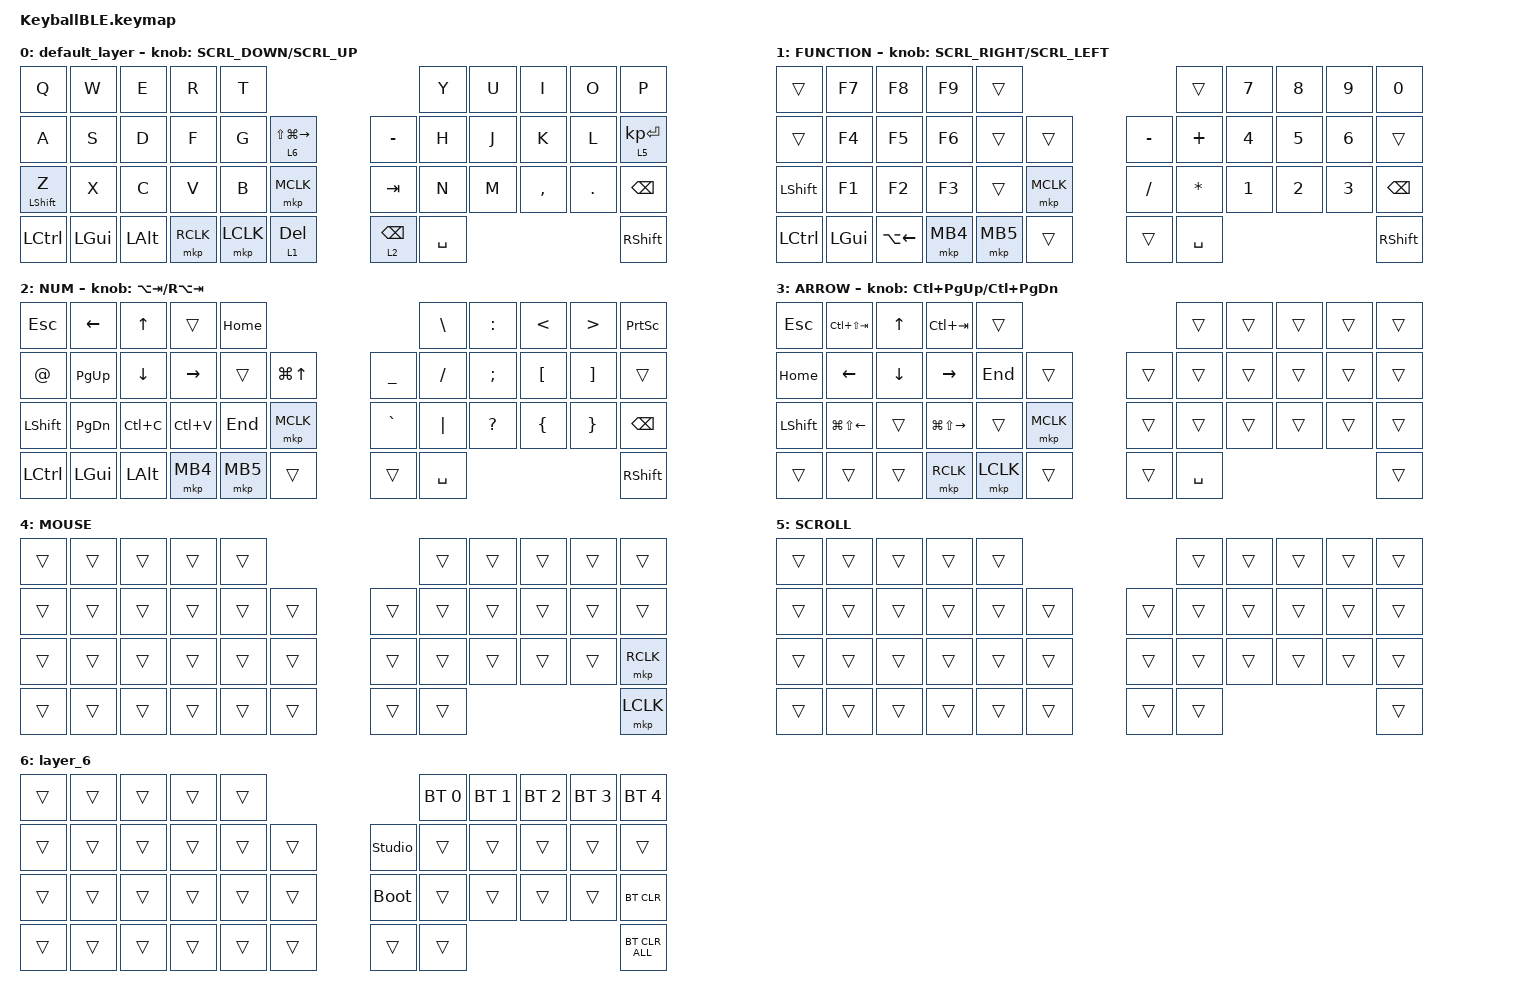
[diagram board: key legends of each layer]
#define ZMK_POINTING_DEFAULT_SCRL_VAL 120    // default: 10

#include <behaviors.dtsi>
#include <dt-bindings/zmk/bt.h>
#include <dt-bindings/zmk/keys.h>
#include <dt-bindings/zmk/pointing.h>

#define MOUSE 4
#define SCROLL 5
#define NUM 6

&mt {
    flavor = "balanced";
    quick-tap-ms = <0>;
};

/ {
    combos {
        compatible = "zmk,combos";

        double_quotation {
            bindings = <&kp DOUBLE_QUOTES>;
            key-positions = <20 21>;
        };
    };

    macros {
        to_layer_0: to_layer_0 {
            compatible = "zmk,behavior-macro-one-param";
            #binding-cells = <1>;
            bindings = <&to 0 &macro_param_1to1 &kp MACRO_PLACEHOLDER>;
            label = "TO_LAYER_0";
        };
    };

    behaviors {
        lt_to_layer_0: lt_to_layer_0 {
            compatible = "zmk,behavior-hold-tap";
            label = "LAYER_TAP_TO_0";
            bindings = <&mo>, <&to_layer_0>;

            #binding-cells = <2>;
            tapping-term-ms = <200>;
        };

        ROTATE: ROTATE {
            compatible = "zmk,behavior-sensor-rotate-var";
            label = "ROTATE";
            #sensor-binding-cells = <2>;
            bindings = <&msc>, <&msc>;

            tap-ms = <20>;
        };
    };

    keymap {
        compatible = "zmk,keymap";

        default_layer {
            bindings = <
&kp Q             &kp W         &kp E         &kp R      &kp T                                                      &kp Y      &kp U  &kp I      &kp O    &kp P
&kp A             &kp S         &kp D         &kp F      &kp G      &lt 6 LS(LG(RIGHT_ARROW))      &kp MINUS        &kp H      &kp J  &kp K      &kp L    &lt 5 KP_ENTER
&mt LEFT_SHIFT Z  &kp X         &kp C         &kp V      &kp B      &mkp MCLK                      &kp TAB          &kp N      &kp M  &kp COMMA  &kp DOT  &kp BACKSPACE
&kp LCTRL         &kp LEFT_GUI  &kp LEFT_ALT  &mkp RCLK  &mkp LCLK  &lt 1 DELETE                   &lt 2 BACKSPACE  &kp SPACE                             &kp RIGHT_SHIFT
            >;

            sensor-bindings = <&ROTATE SCRL_DOWN SCRL_UP>;
        };

        FUNCTION {
            bindings = <
&trans            &kp F7        &kp F8              &kp F9    &trans                              &trans        &kp NUMBER_7  &kp NUMBER_8  &kp NUMBER_9  &kp N0
&trans            &kp F4        &kp F5              &kp F6    &trans    &trans         &kp MINUS  &kp PLUS      &kp NUMBER_4  &kp NUMBER_5  &kp NUMBER_6  &trans
&kp LEFT_SHIFT    &kp F1        &kp F2              &kp F3    &trans    &mkp MCLK      &kp SLASH  &kp ASTERISK  &kp NUMBER_1  &kp NUMBER_2  &kp NUMBER_3  &kp BACKSPACE
&kp LEFT_CONTROL  &kp LEFT_GUI  &kp LA(LEFT_ARROW)  &mkp MB4  &mkp MB5  &trans         &trans     &kp SPACE                                               &kp RIGHT_SHIFT
            >;

            sensor-bindings = <&ROTATE SCRL_RIGHT SCRL_LEFT>;
        };

        NUM {
            bindings = <
&kp ESCAPE        &kp LEFT_ARROW  &kp UP_ARROW    &trans           &kp HOME                                        &kp BACKSLASH  &kp COLON  &kp LT            &kp GT             &kp PRINTSCREEN
&kp AT_SIGN       &kp PG_UP       &kp DOWN_ARROW  &kp RIGHT_ARROW  &trans    &kp LG(UP_ARROW)      &kp UNDERSCORE  &kp SLASH      &kp SEMI   &kp LEFT_BRACKET  &kp RIGHT_BRACKET  &trans
&kp LEFT_SHIFT    &kp PAGE_DOWN   &kp LC(C)       &kp LC(V)        &kp END   &mkp MCLK             &kp GRAVE       &kp PIPE       &kp QMARK  &kp LEFT_BRACE    &kp RIGHT_BRACE    &kp BACKSPACE
&kp LEFT_CONTROL  &kp LEFT_GUI    &kp LEFT_ALT    &mkp MB4         &mkp MB5  &trans                &trans          &kp SPACE                                                      &kp RIGHT_SHIFT
            >;

            sensor-bindings = <&inc_dec_kp LA(TAB) RA(TAB)>;
        };

        ARROW {
            bindings = <
&kp ESCAPE      &kp LC(LS(TAB))         &kp UP_ARROW    &kp LC(TAB)              &trans                            &trans     &trans  &trans  &trans  &trans
&kp HOME        &kp LEFT_ARROW          &kp DOWN_ARROW  &kp RIGHT_ARROW          &kp END    &trans         &trans  &trans     &trans  &trans  &trans  &trans
&kp LEFT_SHIFT  &kp LG(LS(LEFT_ARROW))  &trans          &kp LG(LS(RIGHT_ARROW))  &trans     &mkp MCLK      &trans  &trans     &trans  &trans  &trans  &trans
&trans          &trans                  &trans          &mkp RCLK                &mkp LCLK  &trans         &trans  &kp SPACE                          &trans
            >;

            sensor-bindings = <&inc_dec_kp LC(PAGE_UP) LC(PAGE_DOWN)>;
        };

        MOUSE {
            bindings = <
&trans  &trans  &trans  &trans  &trans                      &trans  &trans  &trans  &trans  &trans
&trans  &trans  &trans  &trans  &trans  &trans      &trans  &trans  &trans  &trans  &trans  &trans
&trans  &trans  &trans  &trans  &trans  &trans      &trans  &trans  &trans  &trans  &trans  &mkp RCLK
&trans  &trans  &trans  &trans  &trans  &trans      &trans  &trans                          &mkp LCLK
            >;
        };

        SCROLL {
            bindings = <
&trans  &trans  &trans  &trans  &trans                      &trans  &trans  &trans  &trans  &trans
&trans  &trans  &trans  &trans  &trans  &trans      &trans  &trans  &trans  &trans  &trans  &trans
&trans  &trans  &trans  &trans  &trans  &trans      &trans  &trans  &trans  &trans  &trans  &trans
&trans  &trans  &trans  &trans  &trans  &trans      &trans  &trans                          &trans
            >;
        };

        layer_6 {
            bindings = <
&trans  &trans  &trans  &trans  &trans                              &bt BT_SEL 0  &bt BT_SEL 1  &bt BT_SEL 2  &bt BT_SEL 3  &bt BT_SEL 4
&trans  &trans  &trans  &trans  &trans  &trans      &studio_unlock  &trans        &trans        &trans        &trans        &trans
&trans  &trans  &trans  &trans  &trans  &trans      &bootloader     &trans        &trans        &trans        &trans        &bt BT_CLR
&trans  &trans  &trans  &trans  &trans  &trans      &trans          &trans                                                  &bt BT_CLR_ALL
            >;
        };
    };
};
